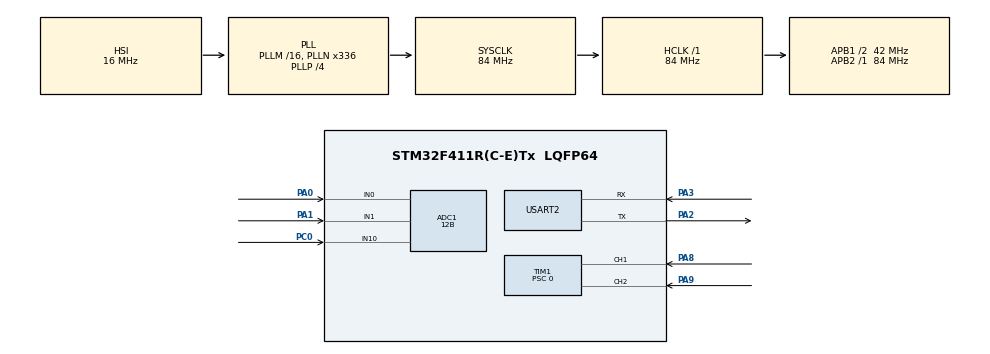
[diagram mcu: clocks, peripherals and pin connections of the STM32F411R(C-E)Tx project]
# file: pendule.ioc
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<<<<<<< HEAD
ADC1.Channel-4\#ChannelRegularConversion=ADC_CHANNEL_0
ADC1.Channel-5\#ChannelRegularConversion=ADC_CHANNEL_1
ADC1.Channel-6\#ChannelRegularConversion=ADC_CHANNEL_10
ADC1.ClockPrescaler=ADC_CLOCK_SYNC_PCLK_DIV8
ADC1.ContinuousConvMode=ENABLE
ADC1.DMAContinuousRequests=ENABLE
ADC1.NbrOfConversion=3
ADC1.NbrOfConversionFlag=1
ADC1.Rank-4\#ChannelRegularConversion=1
ADC1.Rank-5\#ChannelRegularConversion=2
ADC1.Rank-6\#ChannelRegularConversion=3
ADC1.Resolution=ADC_RESOLUTION_12B
ADC1.SamplingTime-4\#ChannelRegularConversion=ADC_SAMPLETIME_480CYCLES
ADC1.SamplingTime-5\#ChannelRegularConversion=ADC_SAMPLETIME_480CYCLES
ADC1.SamplingTime-6\#ChannelRegularConversion=ADC_SAMPLETIME_480CYCLES
ADC1.master=1
Dma.ADC1.0.Direction=DMA_PERIPH_TO_MEMORY
Dma.ADC1.0.FIFOMode=DMA_FIFOMODE_DISABLE
Dma.ADC1.0.Instance=DMA2_Stream0
Dma.ADC1.0.MemDataAlignment=DMA_MDATAALIGN_HALFWORD
Dma.ADC1.0.MemInc=DMA_MINC_ENABLE
Dma.ADC1.0.Mode=DMA_CIRCULAR
Dma.ADC1.0.PeriphDataAlignment=DMA_PDATAALIGN_HALFWORD
Dma.ADC1.0.PeriphInc=DMA_PINC_DISABLE
Dma.ADC1.0.Priority=DMA_PRIORITY_LOW
Dma.Request0=ADC1
=======
ADC1.NbrOfConversionFlag=1
ADC1.master=1
>>>>>>> 76eac0c364395acbc584f7f046d2a7a0c3dbe144
Mcu.Family=STM32F4
<<<<<<< HEAD
=======
>>>>>>> 76eac0c364395acbc584f7f046d2a7a0c3dbe144
Mcu.Name=STM32F411R(C-E)Tx
Mcu.Package=LQFP64
<<<<<<< HEAD
=======
>>>>>>> 76eac0c364395acbc584f7f046d2a7a0c3dbe144
<<<<<<< HEAD
NVIC.DMA2_Stream0_IRQn=true\:0\:0\:false\:false\:true\:false\:true
=======
>>>>>>> 76eac0c364395acbc584f7f046d2a7a0c3dbe144
NVIC.PriorityGroup=NVIC_PRIORITYGROUP_0
<<<<<<< HEAD
NVIC.TIM4_IRQn=true\:0\:0\:false\:false\:true\:true\:true
=======
>>>>>>> 76eac0c364395acbc584f7f046d2a7a0c3dbe144
PA0-WKUP.Signal=ADCx_IN0
PA1.Signal=ADCx_IN1
PA2.Mode=Asynchronous
PA2.Signal=USART2_TX
PA3.GPIO_Mode=GPIO_MODE_AF_PP
PA3.GPIO_PuPd=GPIO_PULLUP
PA3.GPIO_Speed=GPIO_SPEED_FREQ_VERY_HIGH
PA3.Mode=Asynchronous
PA3.Signal=USART2_RX
PA8.Signal=S_TIM1_CH1
PA9.Signal=S_TIM1_CH2
PC0.Signal=ADCx_IN10
ProjectManager.HeapSize=0x200
ProjectManager.StackSize=0x400
ProjectManager.TargetToolchain=STM32CubeIDE
<<<<<<< HEAD
=======
>>>>>>> 76eac0c364395acbc584f7f046d2a7a0c3dbe144
RCC.48MHZClocksFreq_Value=84000000
RCC.AHBFreq_Value=84000000
RCC.APB1CLKDivider=RCC_HCLK_DIV2
RCC.APB1Freq_Value=42000000
RCC.APB1TimFreq_Value=84000000
RCC.APB2Freq_Value=84000000
RCC.APB2TimFreq_Value=84000000
RCC.CortexFreq_Value=84000000
RCC.FLatency-AdvancedSettings=FLASH_LATENCY_2
RCC.HCLKFreq_Value=84000000
RCC.HSE_VALUE=8000000
RCC.HSI_VALUE=16000000
RCC.LSE_VALUE=32768
RCC.PLLN=336
RCC.PLLP=RCC_PLLP_DIV4
RCC.SYSCLKFreq_VALUE=84000000
RCC.SYSCLKSource=RCC_SYSCLKSOURCE_PLLCLK
RCC.VCOOutputFreq_Value=336000000
SH.ADCx_IN0.0=ADC1_IN0,IN0
SH.ADCx_IN1.0=ADC1_IN1,IN1
SH.ADCx_IN10.0=ADC1_IN10,IN10
SH.S_TIM1_CH1.0=TIM1_CH1,Encoder_Interface
SH.S_TIM1_CH2.0=TIM1_CH2,Encoder_Interface
TIM1.AutoReloadPreload=TIM_AUTORELOAD_PRELOAD_DISABLE
TIM1.EncoderMode=TIM_ENCODERMODE_TI12
TIM1.Period=8192
TIM1.Prescaler=0
<<<<<<< HEAD
TIM4.Period=1000-1
TIM4.Prescaler=5000-1
=======
>>>>>>> 76eac0c364395acbc584f7f046d2a7a0c3dbe144
USART2.VirtualMode=VM_ASYNC
<<<<<<< HEAD
VP_TIM4_VS_ClockSourceINT.Mode=Internal
=======
>>>>>>> 76eac0c364395acbc584f7f046d2a7a0c3dbe144
board=NUCLEO-F411RE

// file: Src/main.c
/* USER CODE BEGIN Header */
/**
  ******************************************************************************
  * @file           : main.c
  * @brief          : Main program body
  ******************************************************************************
  * @attention
  *
  * <h2><center>&copy; Copyright (c) 2020 STMicroelectronics.
  * All rights reserved.</center></h2>
  *
  * This software component is licensed by ST under BSD 3-Clause license,
  * the "License"; You may not use this file except in compliance with the
  * License. You may obtain a copy of the License at:
  *                        opensource.org/licenses/BSD-3-Clause
  *
  ******************************************************************************
  */
/* USER CODE END Header */

#include "main.h"

/* USER CODE BEGIN PM */
#define PI 3,1415926
/* USER CODE END PM */

ADC_HandleTypeDef hadc1;
DMA_HandleTypeDef hdma_adc1;

TIM_HandleTypeDef htim1;
TIM_HandleTypeDef htim4;

UART_HandleTypeDef huart2;

void SystemClock_Config(void);
static void MX_GPIO_Init(void);
static void MX_DMA_Init(void);
static void MX_TIM1_Init(void);
static void MX_USART2_UART_Init(void);
static void MX_ADC1_Init(void);
static void MX_TIM4_Init(void);

/* USER CODE BEGIN 0 */
int potardt1=0;
int potardt2=0;

int vitesse=0;
int vitesseP=0;
int count=0;
int sens=0;
int angledt1=0;
int angledt2=0;
double potar=0;
int x=0;
int y=0;
char accelx[12];
char accely[12];
char vitesse2[12];
char vitesseP2[12];
/* USER CODE END 0 */

int main(void)
{
  /* USER CODE BEGIN 1 */
//double potar=0;
char potar2[12];
char sens2[12];
char angle1[12];
char angle2[12];
char count2[12];

/*int potardt1=0;
int potardt2=0;

int vitesse=0;
int vitesseP=0;
int count=0;
int sens=0;
int angledt1=0;
int angledt2=0;*/

uint16_t adc_buf[3];
uint16_t adc_bufx=0;
  /* USER CODE END 1 */

  /* MCU Configuration--------------------------------------------------------*/

  /* Reset of all peripherals, Initializes the Flash interface and the Systick. */
  HAL_Init();

  /* Configure the system clock */
  SystemClock_Config();

  /* Initialize all configured peripherals */
  MX_GPIO_Init();
  MX_DMA_Init();
  MX_TIM1_Init();
  MX_USART2_UART_Init();
  MX_ADC1_Init();
  MX_TIM4_Init();
  /* USER CODE BEGIN 2 */
  HAL_TIM_Encoder_Start(&htim1,TIM_CHANNEL_ALL);
  HAL_TIM_Base_Start_IT(&htim4);
  /* USER CODE END 2 */

  /* Infinite loop */
  while (1)
  {

    /* USER CODE BEGIN 3 */

	/*Encodeur      : A -> PA8 / D7
	  	  	  	      B -> PA9 / D8
	  Potar         : PC0 / A5
	  Accelerometre : x -> PA0 / A0
	  	  	  	    : y -> PA1 / A1

	  	  	  	  Port sÃ©rie : putty et print();
	  	  	  	  */

	  //HAL_TIM_Encoder_Start(&htim1,TIM_CHANNEL_ALL);

	  	  	  	  //Calcul encodeur
	  /*
	  	  	  	  count = TIM1->CNT;
	  	  	  	  sens = __HAL_TIM_DIRECTION_STATUS(&htim1);
	  	  	  	  //angle precedent en radians
	  	  	  	  //angledt1=count*2*3.14/8192-3.14;
	  	  	  	  angledt1=count*360/8192-180;

	  	  	  	  //Calcul avec potar

	  	  	  	  HAL_ADC_Start(&hadc1);
	  	  	 	  HAL_ADC_PollForConversion(&hadc1, 100);
	  	  	 	  potar=HAL_ADC_GetValue(&hadc1);
	  	  	 	  potardt1=(int)potar*100;
	  	  	 	  //*2*PI/(4096)+PI/2;

	  	  	  	  HAL_Delay(200);

	  	  	  	  //Calcul encodeur
	  	  	      count = TIM1->CNT;
	  	  	      sens = __HAL_TIM_DIRECTION_STATUS(&htim1);
	  	  	      //Angle en radians
	  	  	      //angledt2=count*2*3.14/8192-3.14;
	  	  	      angledt2=count*360/8192-180;

	  	  	      //Calcul avec potar
	  	  	  	  HAL_ADC_Start(&hadc1);
	  	  	  	  HAL_ADC_PollForConversion(&hadc1, 100);
	  	  	  	  potar=HAL_ADC_GetValue(&hadc1);
	  	  	  	  potardt2=(int)potar*100;
	  	  	  	  //*2*PI/(4096)+PI/2; */

	  	  	      //Envoi vitesse encodeur + potar
	  	  	      //vitesseP=(potardt2-potardt1)*20;
	  	  	      //vitesseP=potardt2;

	  	  	  	  //potardt2 = potardt1;
	  	  	  	  //HAL_ADC_Start_DMA(&hadc1,(uint32_t*) adc_buf, 3);
	  	  	  	  HAL_ADC_Start_DMA(&hadc1,(uint32_t*) adc_buf, 3);

	  	  	  	  x=(int)adc_buf[0];
	  	  	  	  y=(int)adc_buf[1];
	  	  	  	  potar=adc_buf[2];
	  	  	  	  //x=((x/4096)*10)-5;
	  	  	  	  //y=((y/4096)*10)-5;
	  	  	  	  //HAL_ADC_Start(&hadc1);
	  	  	  	  //HAL_ADC_PollForConversion(&hadc1, 100);
	  	  	  	  //potar=HAL_ADC_GetValue(&hadc1);

	  	  	  	  potardt1=(int)potar*100;

	  	  	  	  //if(sens == __HAL_TIM_DIRECTION_STATUS(&htim1))
	  	  	  	  // {
	  	  		  vitesse=(angledt2-angledt1);
	  	  	      //}

	  	  	  	  sprintf(vitesse2, "%d",vitesse);
	  	  	  	  sprintf(accelx, "%d",x);
	  	  	  	  sprintf(accely, "%d",y);
	  	  	  	  sprintf(vitesseP2, "%d",potardt1);

	  	  	      debugPrint(&huart2, vitesse2);
	  	  	      debugPrint(&huart2, vitesseP2);
	  	  	      debugPrint(&huart2, accelx);
	  	  	      debugPrint(&huart2, accely);

	  	  	  	  HAL_Delay(50);

	  	  	      //Aide au debuggage par liaison serie
	  	  	  	  //sprintf(count2, "%d", count);
	  	  	  	  //sprintf(sens2, "%d", sens);
	  	  	  	  //sprintf(angle2, "%d",angledt2);
	  	  	  	  //sprintf(angle1, "%d",angledt1);
	  	  	  	  //debugPrint(&huart2, "sens :");
	  	  	  	  //debugPrint(&huart2, sens2);
	  	  	  	  //debugPrint(&huart2, "angle :");
	  	  	  	  //debugPrint(&huart2, count2);
	  	  	  	  //debugPrint(&huart2, angle2);
	  	  	  	  //debugPrint(&huart2, angle1);

	  	  	  	  //sprintf(potar2, "%d", potar);
	  	  	  	  //debugPrint(&huart2, "potar :");

	  	  	  	  //debugPrint(&huart2, potar2);

	  	  	  	  /*https://tunizem.blogspot.com/2014/09/using-adc-with-dma-on-stm32.html
	  	  	  	  	  DMA_Cmd(DMA1_Channel1, ENABLE);
	  	  	  	  	  ADC_SoftwareStartConvCmd(ADC1, ENABLE);
	  	  	  	  	  adc_bufx=ADC_values[0];

	  	  	  	  HAL_ADC_Start(&hadc1);
	  	  	  	  HAL_ADC_PollForConversion(&hadc1,5);
	  	  	  	  adc_1 = HAL_ADC_GetValue(&hadc1);
	  	  	  	  HAL_ADC_Start(&hadc1);
	  	  	  	  HAL_ADC_PollForConversion(&hadc1,5);
	  	  	  	  adc_2 = HAL_ADC_GetValue(&hadc1);
	  	  	      HAL_ADC_Start(&hadc1);
	  	  		  HAL_ADC_PollForConversion(&hadc1,5);
	  	  		  adc_3 = HAL_ADC_GetValue(&hadc1);

	  	  	      ///sprintf(adc_bufx, "%d",adc_buf[0]);
	  	  	  	  ///debugPrint(&huart2, adc_bufx);
*/
  }
  /* USER CODE END 3 */
}

void SystemClock_Config(void)
{
  RCC_OscInitTypeDef RCC_OscInitStruct = {0};
  RCC_ClkInitTypeDef RCC_ClkInitStruct = {0};

  /** Configure the main internal regulator output voltage
  */
  __HAL_RCC_PWR_CLK_ENABLE();
  __HAL_PWR_VOLTAGESCALING_CONFIG(PWR_REGULATOR_VOLTAGE_SCALE1);
  /** Initializes the CPU, AHB and APB busses clocks
  */
  RCC_OscInitStruct.OscillatorType = RCC_OSCILLATORTYPE_HSI;
  RCC_OscInitStruct.HSIState = RCC_HSI_ON;
  RCC_OscInitStruct.HSICalibrationValue = RCC_HSICALIBRATION_DEFAULT;
  RCC_OscInitStruct.PLL.PLLState = RCC_PLL_ON;
  RCC_OscInitStruct.PLL.PLLSource = RCC_PLLSOURCE_HSI;
  RCC_OscInitStruct.PLL.PLLM = 16;
  RCC_OscInitStruct.PLL.PLLN = 336;
  RCC_OscInitStruct.PLL.PLLP = RCC_PLLP_DIV4;
  RCC_OscInitStruct.PLL.PLLQ = 4;
  if (HAL_RCC_OscConfig(&RCC_OscInitStruct) != HAL_OK)
  {
    Error_Handler();
  }
  /** Initializes the CPU, AHB and APB busses clocks
  */
  RCC_ClkInitStruct.ClockType = RCC_CLOCKTYPE_HCLK|RCC_CLOCKTYPE_SYSCLK
                              |RCC_CLOCKTYPE_PCLK1|RCC_CLOCKTYPE_PCLK2;
  RCC_ClkInitStruct.SYSCLKSource = RCC_SYSCLKSOURCE_PLLCLK;
  RCC_ClkInitStruct.AHBCLKDivider = RCC_SYSCLK_DIV1;
  RCC_ClkInitStruct.APB1CLKDivider = RCC_HCLK_DIV2;
  RCC_ClkInitStruct.APB2CLKDivider = RCC_HCLK_DIV1;

  if (HAL_RCC_ClockConfig(&RCC_ClkInitStruct, FLASH_LATENCY_2) != HAL_OK)
  {
    Error_Handler();
  }
}

static void MX_ADC1_Init(void)
{

  ADC_ChannelConfTypeDef sConfig = {0};

  /** Configure the global features of the ADC (Clock, Resolution, Data Alignment and number of conversion)
  */
  hadc1.Instance = ADC1;
  hadc1.Init.ClockPrescaler = ADC_CLOCK_SYNC_PCLK_DIV8;
  hadc1.Init.Resolution = ADC_RESOLUTION_12B;
  hadc1.Init.ScanConvMode = ENABLE;
  hadc1.Init.ContinuousConvMode = ENABLE;
  hadc1.Init.DiscontinuousConvMode = DISABLE;
  hadc1.Init.ExternalTrigConvEdge = ADC_EXTERNALTRIGCONVEDGE_NONE;
  hadc1.Init.ExternalTrigConv = ADC_SOFTWARE_START;
  hadc1.Init.DataAlign = ADC_DATAALIGN_RIGHT;
  hadc1.Init.NbrOfConversion = 3;
  hadc1.Init.DMAContinuousRequests = ENABLE;
  hadc1.Init.EOCSelection = ADC_EOC_SINGLE_CONV;
  if (HAL_ADC_Init(&hadc1) != HAL_OK)
  {
    Error_Handler();
  }
  /** Configure for the selected ADC regular channel its corresponding rank in the sequencer and its sample time.
  */
  sConfig.Channel = ADC_CHANNEL_0;
  sConfig.Rank = 1;
  sConfig.SamplingTime = ADC_SAMPLETIME_480CYCLES;
  if (HAL_ADC_ConfigChannel(&hadc1, &sConfig) != HAL_OK)
  {
    Error_Handler();
  }
  /** Configure for the selected ADC regular channel its corresponding rank in the sequencer and its sample time.
  */
  sConfig.Channel = ADC_CHANNEL_1;
  sConfig.Rank = 2;
  if (HAL_ADC_ConfigChannel(&hadc1, &sConfig) != HAL_OK)
  {
    Error_Handler();
  }
  /** Configure for the selected ADC regular channel its corresponding rank in the sequencer and its sample time.
  */
  sConfig.Channel = ADC_CHANNEL_10;
  sConfig.Rank = 3;
  if (HAL_ADC_ConfigChannel(&hadc1, &sConfig) != HAL_OK)
  {
    Error_Handler();
  }

}

static void MX_TIM1_Init(void)
{

  TIM_Encoder_InitTypeDef sConfig = {0};
  TIM_MasterConfigTypeDef sMasterConfig = {0};

  htim1.Instance = TIM1;
  htim1.Init.Prescaler = 0;
  htim1.Init.CounterMode = TIM_COUNTERMODE_UP;
  htim1.Init.Period = 8192;
  htim1.Init.ClockDivision = TIM_CLOCKDIVISION_DIV1;
  htim1.Init.RepetitionCounter = 0;
  htim1.Init.AutoReloadPreload = TIM_AUTORELOAD_PRELOAD_DISABLE;
  sConfig.EncoderMode = TIM_ENCODERMODE_TI12;
  sConfig.IC1Polarity = TIM_ICPOLARITY_RISING;
  sConfig.IC1Selection = TIM_ICSELECTION_DIRECTTI;
  sConfig.IC1Prescaler = TIM_ICPSC_DIV1;
  sConfig.IC1Filter = 0;
  sConfig.IC2Polarity = TIM_ICPOLARITY_RISING;
  sConfig.IC2Selection = TIM_ICSELECTION_DIRECTTI;
  sConfig.IC2Prescaler = TIM_ICPSC_DIV1;
  sConfig.IC2Filter = 0;
  if (HAL_TIM_Encoder_Init(&htim1, &sConfig) != HAL_OK)
  {
    Error_Handler();
  }
  sMasterConfig.MasterOutputTrigger = TIM_TRGO_RESET;
  sMasterConfig.MasterSlaveMode = TIM_MASTERSLAVEMODE_DISABLE;
  if (HAL_TIMEx_MasterConfigSynchronization(&htim1, &sMasterConfig) != HAL_OK)
  {
    Error_Handler();
  }
  /* USER CODE BEGIN TIM1_Init 2 */
  TIM1->CNT=4096;
  /* USER CODE END TIM1_Init 2 */

}

static void MX_TIM4_Init(void)
{

  TIM_ClockConfigTypeDef sClockSourceConfig = {0};
  TIM_MasterConfigTypeDef sMasterConfig = {0};

  htim4.Instance = TIM4;
  htim4.Init.Prescaler = 5000-1;
  htim4.Init.CounterMode = TIM_COUNTERMODE_UP;
  htim4.Init.Period = 1000-1;
  htim4.Init.ClockDivision = TIM_CLOCKDIVISION_DIV1;
  htim4.Init.AutoReloadPreload = TIM_AUTORELOAD_PRELOAD_DISABLE;
  if (HAL_TIM_Base_Init(&htim4) != HAL_OK)
  {
    Error_Handler();
  }
  sClockSourceConfig.ClockSource = TIM_CLOCKSOURCE_INTERNAL;
  if (HAL_TIM_ConfigClockSource(&htim4, &sClockSourceConfig) != HAL_OK)
  {
    Error_Handler();
  }
  sMasterConfig.MasterOutputTrigger = TIM_TRGO_RESET;
  sMasterConfig.MasterSlaveMode = TIM_MASTERSLAVEMODE_DISABLE;
  if (HAL_TIMEx_MasterConfigSynchronization(&htim4, &sMasterConfig) != HAL_OK)
  {
    Error_Handler();
  }

}

static void MX_USART2_UART_Init(void)
{

  huart2.Instance = USART2;
  huart2.Init.BaudRate = 115200;
  huart2.Init.WordLength = UART_WORDLENGTH_8B;
  huart2.Init.StopBits = UART_STOPBITS_1;
  huart2.Init.Parity = UART_PARITY_NONE;
  huart2.Init.Mode = UART_MODE_TX_RX;
  huart2.Init.HwFlowCtl = UART_HWCONTROL_NONE;
  huart2.Init.OverSampling = UART_OVERSAMPLING_16;
  if (HAL_UART_Init(&huart2) != HAL_OK)
  {
    Error_Handler();
  }

}

static void MX_DMA_Init(void)
{
  /* DMA controller clock enable */
  __HAL_RCC_DMA2_CLK_ENABLE();

  /* DMA interrupt init */
  /* DMA2_Stream0_IRQn interrupt configuration */
  HAL_NVIC_SetPriority(DMA2_Stream0_IRQn, 0, 0);
  HAL_NVIC_EnableIRQ(DMA2_Stream0_IRQn);

}

static void MX_GPIO_Init(void)
{

  /* GPIO Ports Clock Enable */
  __HAL_RCC_GPIOC_CLK_ENABLE();
  __HAL_RCC_GPIOA_CLK_ENABLE();

}

/* USER CODE BEGIN 4 */
void debugPrint(UART_HandleTypeDef *huart, char _out[]){
 HAL_UART_Transmit(huart, (uint8_t *) _out, strlen(_out), 10);
 char newline[2] = "\r\n";
 HAL_UART_Transmit(huart, (uint8_t *) newline, 2, 10);
}

// Callback: timer has rolled over
void HAL_TIM_PeriodElapsedCallback(TIM_HandleTypeDef *htim)
{
  // Check which version of the timer triggered this callback and toggle LED
  if (htim == &htim4 )
  {
	  angledt2=angledt1;
	  count = TIM1->CNT;
	  sens = __HAL_TIM_DIRECTION_STATUS(&htim1);
	  //angle precedent en radians
	  //angledt1=count*2*3.14/8192-3.14;
	  angledt1=count*360/8192-180;
  }

}

/* USER CODE END 4 */

void Error_Handler(void)
{
}

/************************ (C) COPYRIGHT STMicroelectronics *****END OF FILE****/
